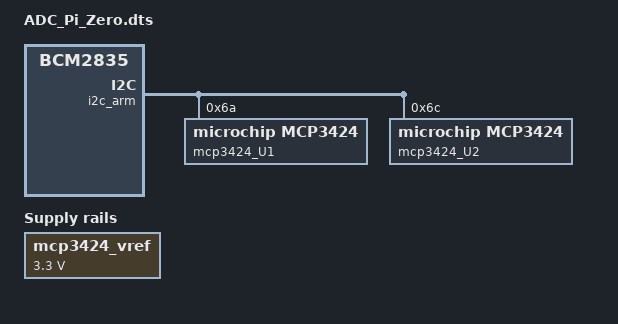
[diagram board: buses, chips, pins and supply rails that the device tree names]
// Overlay for the AB Electronics ADC Pi Zero
// https://www.abelectronics.co.uk/p/69/adc-pi

// NOTE: Each input has a 6.8K/10.K ohm voltage divider; so the gain argument
// should be 6800.0/16800.0.

/dts-v1/;
/plugin/;

/{
	compatible = "brcm,bcm2835";

	// Create a fictitious voltage regulator for the MCP3424 reference

	fragment@0 {
		target-path = "/";
		__overlay__ {
			mcp3424_vref: mcp3424-vref {
				compatible = "regulator-fixed";
				regulator-name = "MCP3424";
				regulator-min-microvolt = <3300000>;
				regulator-max-microvolt = <3300000>;
				regulator-always-on;
				status = "okay";
 			};
		};
	};

	fragment@1 {
		target = <&i2c_arm>;
		__overlay__ {
			#address-cells = <1>;
			#size-cells = <0>;
			status = "okay";

			// U1, channels 1 to 4 (0:0 to 0:3)

			mcp3424_U1: mcp3424_U1@6A {
				compatible = "microchip,mcp3424";
				reg = <0x6A>;
				status = "okay";
			};
		};
	};

	fragment@2 {
		target = <&i2c_arm>;
		__overlay__ {
			#address-cells = <1>;
			#size-cells = <0>;
			status = "okay";

			// U2, channels 4 to 8 (1:0 to 1:3)

			mcp3424_U2: mcp3424_U2@6C {
				compatible = "microchip,mcp3424";
				reg = <0x6C>;
				status = "okay";
			};
		};
	};

	__overrides__ {
		addr0 = <&mcp3424_U1>,"reg:0";
		addr1 = <&mcp3424_U2>,"reg:0";
	};
};
